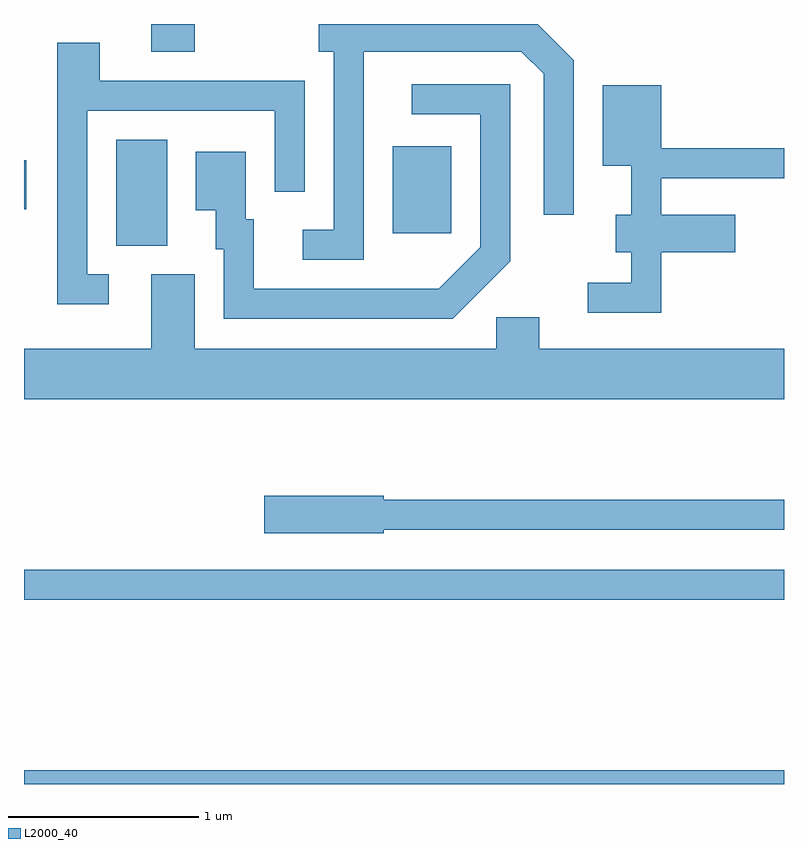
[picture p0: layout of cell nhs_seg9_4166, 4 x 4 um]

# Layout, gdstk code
import gdstk
lib = gdstk.Library(unit=1e-6, precision=1e-09)
def R(c, l, rs):  # rectangles x0, y0, x1, y1
    for r in rs: c.add(gdstk.rectangle(r[:2], r[2:], *l))
def P(c, l, *ps):  # polygons
    for p in ps: c.add(gdstk.Polygon(p, *l))
L2000_40 = (2000, 40)

nhs_seg9_4166 = lib.new_cell('nhs_seg9_4166')
R(nhs_seg9_4166, L2000_40, [(307.611,2016.432,311.611,2016.504), (307.611,2017.401,311.611,2017.559), (308.096,2019.266,308.364,2019.824), (309.551,2019.331,309.859,2019.789), (307.611,2019.456,307.624,2019.714), (308.281,2020.286,308.509,2020.432)])
P(nhs_seg9_4166, L2000_40, [(309.399,2020.286),(310.229,2020.286),(310.346,2020.169),(310.346,2019.428),(310.504,2019.428),(310.504,2020.242),(310.314,2020.432),(309.163,2020.432),(309.163,2020.286),(309.241,2020.286),(309.241,2019.349),(309.078,2019.349),(309.078,2019.191),(309.399,2019.191)],
  [(308.058,2019.114),(307.944,2019.114),(307.944,2019.976),(308.931,2019.976),(308.931,2019.548),(309.089,2019.548),(309.089,2020.134),(308.009,2020.134),(308.009,2020.334),(307.786,2020.334),(307.786,2018.956),(308.058,2018.956)],
  [(310.169,2019.184),(310.169,2020.114),(309.653,2020.114),(309.653,2019.956),(310.011,2019.956),(310.011,2019.257),(309.794,2019.039),(308.819,2019.039),(308.819,2019.404),(308.779,2019.404),(308.779,2019.759),(308.516,2019.759),(308.516,2019.451),(308.621,2019.451),(308.621,2019.246),(308.661,2019.246),(308.661,2018.881),(309.867,2018.881)],
  [(310.964,2019.231),(311.354,2019.231),(311.354,2019.429),(310.964,2019.429),(310.964,2019.621),(311.611,2019.621),(311.611,2019.779),(310.964,2019.779),(310.964,2020.109),(310.656,2020.109),(310.656,2019.686),(310.806,2019.686),(310.806,2019.429),(310.726,2019.429),(310.726,2019.231),(310.806,2019.231),(310.806,2019.069),(310.578,2019.069),(310.578,2018.911),(310.964,2018.911)],
  [(311.611,2018.724),(310.324,2018.724),(310.324,2018.889),(310.096,2018.889),(310.096,2018.724),(308.509,2018.724),(308.509,2019.114),(308.281,2019.114),(308.281,2018.724),(307.611,2018.724),(307.611,2018.456),(311.611,2018.456)],
  [(309.504,2017.771),(311.611,2017.771),(311.611,2017.929),(309.504,2017.929),(309.504,2017.949),(308.876,2017.949),(308.876,2017.751),(309.504,2017.751)])

lib.write_gds('nhs_seg9_4166.gds')
